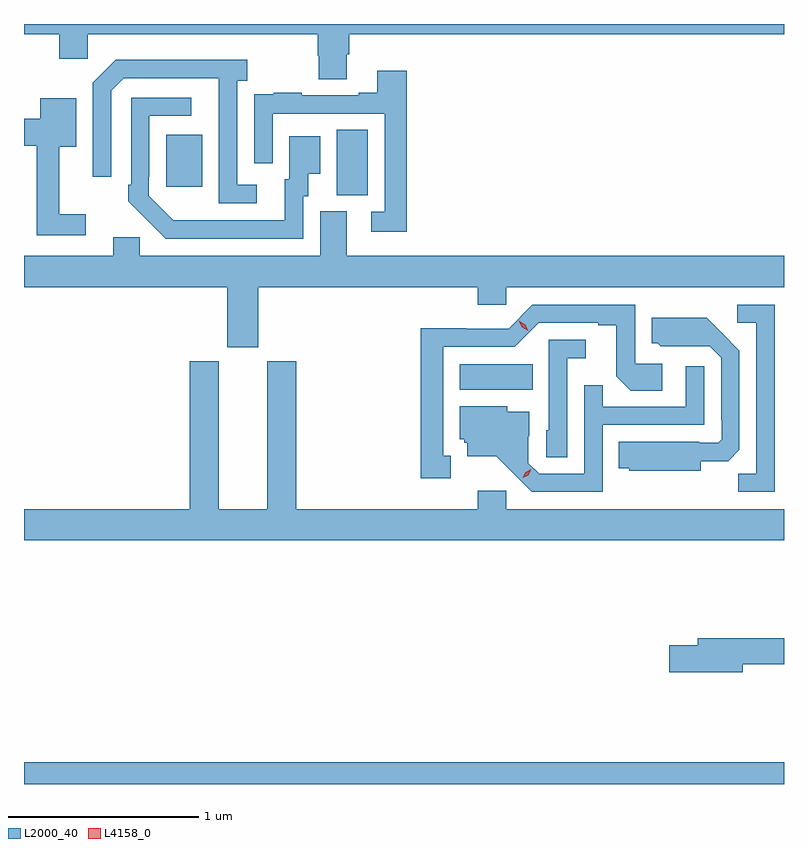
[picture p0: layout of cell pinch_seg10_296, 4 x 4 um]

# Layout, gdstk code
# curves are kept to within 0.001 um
import gdstk
lib = gdstk.Library(unit=1e-6, precision=1e-09)
def R(c, l, rs):  # rectangles x0, y0, x1, y1
    for r in rs: c.add(gdstk.rectangle(r[:2], r[2:], *l))
def P(c, l, *ps):  # polygons
    for p in ps: c.add(gdstk.Polygon(p, *l))
L2000_40 = (2000, 40)
L4158_0 = (4158, 0)

pinch_seg10_296 = lib.new_cell('pinch_seg10_296')
R(pinch_seg10_296, L2000_40, [(408.138,1301.697,412.138,1301.812), (410.432,1303.772,410.816,1303.906), (409.784,1304.797,409.948,1305.14), (408.887,1304.841,409.075,1305.115)])
P(pinch_seg10_296, L2000_40, [(409.837,1305.538),(409.85,1305.538),(409.85,1305.644),(412.138,1305.644),(412.138,1305.697),(408.138,1305.697),(408.138,1305.644),(408.323,1305.644),(408.323,1305.513),(408.474,1305.513),(408.474,1305.644),(409.685,1305.644),(409.685,1305.531),(409.69,1305.531),(409.69,1305.406),(409.837,1305.406)],
  [(409.363,1304.85),(409.26,1304.85),(409.26,1305.398),(409.312,1305.398),(409.312,1305.508),(408.622,1305.508),(408.501,1305.387),(408.501,1304.892),(408.597,1304.892),(408.597,1305.345),(408.663,1305.411),(409.163,1305.411),(409.164,1304.754),(409.363,1304.754)],
  [(410.153,1305.451),(409.997,1305.451),(409.997,1305.334),(409.901,1305.334),(409.901,1305.321),(409.601,1305.321),(409.601,1305.334),(409.453,1305.334),(409.453,1305.327),(409.351,1305.327),(409.351,1305.218),(409.35,1305.218),(409.35,1304.964),(409.446,1304.964),(409.446,1305.225),(410.037,1305.225),(410.037,1304.709),(409.965,1304.709),(409.965,1304.604),(410.153,1304.604)],
  [(409.608,1304.79),(409.633,1304.79),(409.633,1304.909),(409.696,1304.909),(409.696,1305.106),(409.535,1305.106),(409.535,1304.88),(409.511,1304.88),(409.511,1304.664),(408.924,1304.665),(408.795,1304.793),(408.795,1304.893),(408.798,1304.893),(408.798,1305.213),(409.018,1305.213),(409.018,1305.309),(408.702,1305.309),(408.702,1304.851),(408.687,1304.851),(408.687,1304.763),(408.884,1304.568),(409.608,1304.568)],
  [(408.463,1304.695),(408.323,1304.695),(408.323,1305.05),(408.412,1305.05),(408.412,1305.307),(408.224,1305.307),(408.224,1305.198),(408.138,1305.198),(408.138,1305.056),(408.205,1305.056),(408.205,1304.586),(408.463,1304.586)],
  [(409.372,1304.312),(410.525,1304.312),(410.525,1304.219),(410.676,1304.219),(410.676,1304.312),(412.138,1304.312),(412.138,1304.476),(409.837,1304.476),(409.837,1304.712),(409.697,1304.712),(409.697,1304.476),(408.747,1304.476),(408.747,1304.574),(408.608,1304.574),(408.608,1304.476),(408.138,1304.476),(408.138,1304.312),(409.208,1304.312),(409.208,1303.995),(409.372,1303.995)],
  [(410.383,1303.425),(410.344,1303.425),(410.344,1303.998),(410.721,1303.998),(410.847,1304.124),(411.161,1304.124),(411.161,1304.112),(411.255,1304.112),(411.255,1303.844),(411.331,1303.768),(411.496,1303.768),(411.496,1303.908),(411.354,1303.908),(411.354,1304.22),(410.814,1304.22),(410.688,1304.094),(410.466,1304.094),(410.466,1304.096),(410.226,1304.096),(410.226,1303.305),(410.383,1303.305)],
  [(412.089,1304.22),(411.891,1304.22),(411.891,1304.124),(411.993,1304.124),(411.993,1303.331),(411.898,1303.331),(411.898,1303.236),(412.089,1303.236)],
  [(411.7,1303.397),(411.844,1303.397),(411.903,1303.456),(411.903,1303.978),(411.731,1304.152),(411.443,1304.152),(411.443,1304.016),(411.474,1304.016),(411.49,1304),(411.747,1304.001),(411.807,1303.941),(411.807,1303.612),(411.81,1303.612),(411.81,1303.512),(411.792,1303.494),(411.692,1303.494),(411.692,1303.498),(411.268,1303.498),(411.268,1303.358),(411.324,1303.358),(411.324,1303.346),(411.7,1303.346)],
  [(410.997,1303.937),(411.094,1303.937),(411.094,1304.034),(410.901,1304.034),(410.901,1303.56),(410.886,1303.56),(410.886,1303.417),(410.997,1303.417)],
  [(412.138,1303.144),(410.676,1303.144),(410.676,1303.24),(410.525,1303.24),(410.525,1303.144),(409.571,1303.144),(409.571,1303.923),(409.418,1303.923),(409.418,1303.144),(409.162,1303.144),(409.162,1303.923),(409.01,1303.923),(409.01,1303.144),(408.138,1303.144),(408.138,1302.98),(412.138,1302.98)],
  [(411.183,1303.587),(411.717,1303.587),(411.717,1303.897),(411.621,1303.897),(411.621,1303.683),(411.185,1303.683),(411.185,1303.796),(411.087,1303.796),(411.087,1303.329),(410.85,1303.329),(410.793,1303.386),(410.793,1303.528),(410.797,1303.528),(410.797,1303.657),(410.682,1303.657),(410.682,1303.684),(410.432,1303.684),(410.432,1303.512),(410.454,1303.512),(410.454,1303.494),(410.471,1303.494),(410.471,1303.421),(410.623,1303.421),(410.81,1303.236),(411.183,1303.236)],
  [(411.922,1302.328),(412.138,1302.328),(412.138,1302.464),(411.683,1302.464),(411.683,1302.428),(411.534,1302.428),(411.534,1302.286),(411.922,1302.286)])
P(pinch_seg10_296, L4158_0, [(410.762,1303.308),(410.762,1303.308),(410.779,1303.338),(410.809,1303.353),(410.809,1303.353),(410.809,1303.353),(410.792,1303.323),(410.762,1303.308)],
  [(410.792,1304.082),(410.76,1304.102),(410.743,1304.134),(410.743,1304.135),(410.743,1304.135),(410.775,1304.115),(410.792,1304.082),(410.792,1304.082)])

lib.write_gds('pinch_seg10_296.gds')
